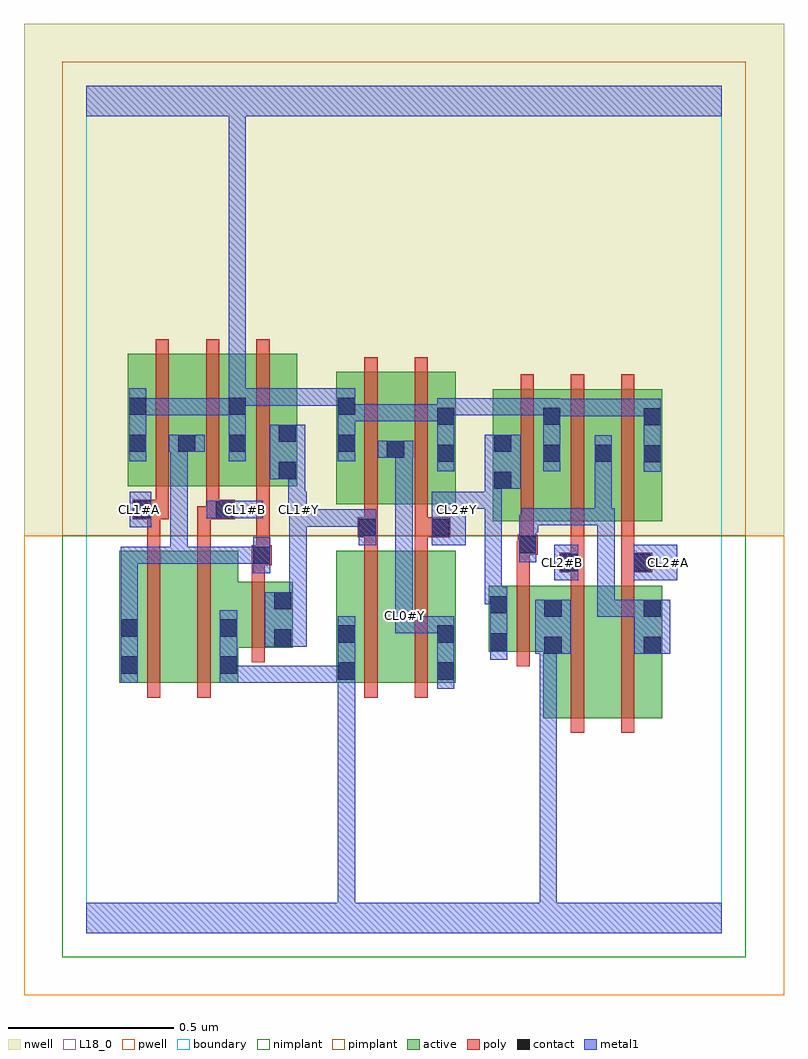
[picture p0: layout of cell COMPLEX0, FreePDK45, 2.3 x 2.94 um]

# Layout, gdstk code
import gdstk
lib = gdstk.Library(unit=1e-6, precision=1e-09)
def R(c, l, rs):  # rectangles x0, y0, x1, y1
    for r in rs: c.add(gdstk.rectangle(r[:2], r[2:], *l))
def A(c, l, x, y, w, h, nx, ny, dx, dy):  # array of equal rectangles
    R(c, l, [(x+i*dx, y+j*dy, x+i*dx+w, y+j*dy+h) for i in range(nx) for j in range(ny)])
active = (1, 0)
pwell = (2, 0)
nwell = (3, 0)
nimplant = (4, 0)
pimplant = (5, 0)
poly = (9, 0)
contact = (10, 0)
metal1 = (11, 0)
L18_0 = (18, 0)
boundary = (235, 0)

complex0 = lib.new_cell('COMPLEX0')
R(complex0, active, [(1.38,0.65,1.44,1.05), (1.38,0.65,1.56,1.05), (1.56,0.65,1.74,1.05), (1.68,0.65,1.74,1.05), (0.1,0.756,0.16,1.156), (0.1,0.756,0.28,1.156), (0.28,0.756,0.46,1.156), (0.756,0.756,0.816,1.156), (0.756,0.756,0.936,1.156), (0.936,0.756,1.116,1.156), (1.056,0.756,1.116,1.156), (0.4,0.78,0.46,1.062), (1.216,0.85,1.44,1.05), (1.216,0.85,1.276,1.05), (0.4,0.862,0.624,1.062), (0.564,0.862,0.624,1.062), (1.228,1.244,1.288,1.644), (1.228,1.244,1.436,1.644), (1.376,1.244,1.436,1.644), (1.376,1.244,1.592,1.644), (1.532,1.244,1.592,1.644), (1.532,1.244,1.74,1.644), (1.68,1.244,1.74,1.644), (0.756,1.296,0.964,1.696), (0.756,1.296,0.816,1.644), (0.904,1.296,1.116,1.696), (1.056,1.296,1.116,1.696), (0.126,1.35,0.186,1.75), (0.126,1.35,0.334,1.75), (0.274,1.35,0.486,1.75), (0.274,1.35,0.334,1.644), (0.426,1.35,0.486,1.75), (0.426,1.35,0.638,1.75), (0.578,1.35,0.638,1.75), (0.904,1.432,0.964,1.644)])
R(complex0, pwell, [(-0.188,-0.188,2.108,1.2)])
R(complex0, nwell, [(-0.188,1.2,2.108,2.748)])
R(complex0, nimplant, [(-0.072,-0.072,1.992,1.2)])
R(complex0, pimplant, [(-0.072,1.2,1.992,2.632)])
A(complex0, poly, 1.312, 1.2, 0.04, 0.488, 3, 1, 0.152, 0)
A(complex0, poly, 0.21, 1.306, 0.04, 0.488, 3, 1, 0.152, 0)
R(complex0, poly, [(1.464,0.606,1.504,1.094), (1.616,0.606,1.656,1.094), (0.184,0.712,0.224,1.2), (0.336,0.712,0.376,1.2), (0.84,0.712,0.88,1.2), (0.992,0.712,1.032,1.2), (1.3,0.806,1.34,1.094), (0.5,0.818,0.54,1.106), (1.3,1.054,1.34,1.184), (1.464,1.054,1.504,1.13), (1.616,1.054,1.656,1.13), (0.5,1.066,0.54,1.152), (1.43,1.09,1.504,1.15), (1.616,1.09,1.71,1.15), (1.464,1.11,1.504,1.24), (1.464,1.11,1.504,1.15), (1.464,1.11,1.504,1.15), (1.616,1.11,1.656,1.24), (1.616,1.11,1.656,1.15), (1.616,1.11,1.656,1.15), (0.5,1.112,0.56,1.172), (0.514,1.132,0.554,1.172), (0.514,1.132,0.554,1.172), (0.514,1.132,0.554,1.346), (1.3,1.144,1.344,1.184), (1.304,1.144,1.344,1.184), (1.304,1.144,1.364,1.204), (0.184,1.16,0.224,1.29), (0.336,1.16,0.376,1.29), (0.84,1.16,0.88,1.236), (0.992,1.16,1.032,1.236), (1.312,1.164,1.352,1.24), (0.82,1.196,0.88,1.256), (0.992,1.196,1.032,1.236), (0.992,1.196,1.032,1.236), (0.992,1.196,1.1,1.256), (0.84,1.216,0.88,1.256), (0.84,1.216,0.88,1.256), (0.84,1.216,0.88,1.292), (0.992,1.216,1.032,1.292), (0.14,1.25,0.25,1.31), (0.184,1.25,0.224,1.29), (0.184,1.25,0.224,1.29), (0.336,1.25,0.402,1.29), (0.362,1.25,0.402,1.29), (0.362,1.25,0.448,1.31), (0.84,1.252,0.88,1.74), (0.992,1.252,1.032,1.74), (0.21,1.27,0.25,1.346), (0.362,1.27,0.402,1.346)])
R(complex0, contact, [(0.76,0.766,0.812,0.818), (1.06,0.766,1.112,0.818), (0.104,0.784,0.156,0.836), (0.404,0.784,0.456,0.836), (1.384,0.844,1.436,0.896), (1.684,0.844,1.736,0.896), (1.22,0.854,1.272,0.906), (0.568,0.866,0.62,0.918), (0.76,0.878,0.812,0.93), (1.06,0.878,1.112,0.93), (0.104,0.896,0.156,0.948), (0.404,0.896,0.456,0.948), (1.384,0.956,1.436,1.008), (1.684,0.956,1.736,1.008), (1.22,0.966,1.272,1.018), (0.568,0.978,0.62,1.03), (1.434,1.094,1.486,1.146), (1.654,1.094,1.706,1.146), (0.504,1.116,0.556,1.168), (1.308,1.148,1.36,1.2), (0.824,1.2,0.876,1.252), (1.044,1.2,1.096,1.252), (0.144,1.254,0.196,1.306), (0.392,1.254,0.444,1.306), (1.232,1.342,1.284,1.394), (0.582,1.372,0.634,1.424), (1.684,1.422,1.736,1.474), (1.06,1.424,1.112,1.476), (1.38,1.424,1.432,1.476), (1.536,1.424,1.588,1.476), (0.908,1.436,0.96,1.488), (0.13,1.454,0.182,1.506), (0.278,1.454,0.33,1.506), (0.43,1.454,0.482,1.506), (0.76,1.454,0.812,1.506), (1.232,1.454,1.284,1.506), (0.582,1.484,0.634,1.536), (1.684,1.534,1.736,1.586), (1.06,1.536,1.112,1.588), (1.38,1.536,1.432,1.588), (0.13,1.566,0.182,1.618), (0.43,1.566,0.482,1.618), (0.76,1.566,0.812,1.618)])
R(complex0, metal1, [(0,0,1.92,0.092), (0.76,0.04,0.812,0.79), (1.37,0.04,1.422,0.092), (1.37,0.04,1.422,0.092), (1.37,0.04,1.422,0.092), (1.37,0.04,1.422,0.092), (1.37,0.04,1.422,0.092), (1.37,0.04,1.422,0.092), (1.37,0.04,1.422,0.092), (1.37,0.04,1.422,0.092), (1.37,0.04,1.422,0.092), (1.37,0.04,1.422,0.092), (1.37,0.04,1.422,0.896), (0.76,0.738,0.812,0.79), (0.76,0.738,0.812,0.79), (0.76,0.738,0.812,0.79), (0.76,0.738,0.812,0.79), (0.76,0.738,0.812,0.79), (0.76,0.738,0.812,0.79), (0.76,0.738,0.812,0.79), (0.76,0.738,0.812,0.79), (0.76,0.738,0.812,0.79), (0.76,0.738,0.812,0.79), (0.76,0.738,0.812,0.79), (0.76,0.738,0.812,0.79), (0.76,0.738,0.812,0.958), (1.06,0.738,1.112,0.958), (0.104,0.756,0.156,0.976), (0.404,0.756,0.456,0.976), (0.404,0.756,0.468,0.808), (0.416,0.756,0.468,0.808), (0.416,0.756,0.592,0.808), (0.54,0.756,0.592,0.808), (0.54,0.756,0.812,0.808), (1.22,0.826,1.272,1.046), (1.356,0.844,1.464,1.008), (1.37,0.844,1.422,0.896), (1.37,0.844,1.422,0.896), (1.656,0.844,1.764,1.008), (0.54,0.866,0.666,1.03), (0.934,0.906,0.986,0.958), (0.934,0.906,0.986,0.958), (0.934,0.906,0.986,1.014), (0.934,0.906,1.112,0.958), (1.06,0.906,1.112,0.958), (1.06,0.906,1.112,0.958), (0.104,0.924,0.156,1.168), (1.544,0.956,1.596,1.008), (1.544,0.956,1.708,1.008), (1.544,0.956,1.596,1.284), (1.656,0.956,1.708,1.008), (1.656,0.956,1.708,1.008), (0.934,0.962,0.986,1.488), (0.614,0.978,0.666,1.278), (1.204,0.994,1.256,1.334), (1.204,0.994,1.272,1.046), (1.22,0.994,1.272,1.046), (1.414,1.066,1.486,1.174), (1.654,1.066,1.786,1.174), (0.504,1.088,0.556,1.196), (0.104,1.116,0.156,1.168), (0.104,1.116,0.156,1.168), (0.104,1.116,0.156,1.168), (0.104,1.116,0.306,1.168), (0.254,1.116,0.306,1.168), (0.254,1.116,0.306,1.168), (0.254,1.116,0.306,1.168), (0.254,1.116,0.468,1.168), (0.254,1.116,0.306,1.506), (0.416,1.116,0.468,1.168), (0.416,1.116,0.556,1.168), (1.308,1.12,1.36,1.264), (0.824,1.172,0.876,1.28), (1.044,1.172,1.146,1.334), (1.308,1.212,1.366,1.264), (1.314,1.212,1.366,1.284), (0.132,1.226,0.196,1.334), (0.614,1.226,0.666,1.334), (0.614,1.228,0.666,1.28), (0.614,1.228,0.666,1.28), (0.614,1.228,0.876,1.28), (1.314,1.232,1.588,1.284), (1.536,1.232,1.588,1.284), (1.536,1.232,1.588,1.284), (1.536,1.232,1.588,1.448), (1.536,1.232,1.596,1.284), (1.544,1.232,1.596,1.284), (1.544,1.232,1.596,1.284), (0.364,1.254,0.534,1.306), (0.61,1.282,0.662,1.424), (0.61,1.282,0.666,1.334), (0.614,1.282,0.666,1.334), (1.094,1.282,1.146,1.334), (1.094,1.282,1.146,1.334), (1.094,1.282,1.256,1.334), (1.204,1.282,1.256,1.334), (1.204,1.282,1.256,1.394), (1.204,1.342,1.312,1.506), (0.554,1.372,0.662,1.536), (1.684,1.394,1.736,1.614), (1.06,1.396,1.112,1.616), (1.38,1.396,1.432,1.616), (1.536,1.396,1.588,1.504), (0.13,1.426,0.182,1.646), (0.43,1.426,0.482,1.646), (0.76,1.426,0.812,1.646), (0.88,1.436,0.988,1.488), (0.934,1.436,0.986,1.488), (0.934,1.436,0.986,1.488), (0.25,1.454,0.358,1.506), (0.254,1.454,0.306,1.506), (0.254,1.454,0.306,1.506), (0.76,1.546,0.812,1.598), (0.76,1.546,0.812,1.598), (0.76,1.546,0.922,1.598), (0.87,1.546,0.922,1.598), (0.87,1.546,1.112,1.598), (1.06,1.546,1.112,1.598), (1.06,1.546,1.112,1.598), (1.38,1.562,1.542,1.614), (1.49,1.562,1.542,1.614), (1.49,1.562,1.542,1.614), (1.49,1.562,1.542,1.614), (1.49,1.562,1.736,1.614), (1.684,1.562,1.736,1.614), (1.684,1.562,1.736,1.614), (0.13,1.564,0.182,1.616), (0.13,1.564,0.182,1.616), (0.13,1.564,0.306,1.616), (0.254,1.564,0.306,1.616), (0.254,1.564,0.306,1.616), (0.254,1.564,0.306,1.616), (0.254,1.564,0.482,1.616), (1.06,1.564,1.256,1.616), (1.204,1.564,1.256,1.616), (1.204,1.564,1.256,1.616), (1.204,1.564,1.256,1.616), (1.204,1.564,1.432,1.616), (0.43,1.594,0.482,1.646), (0.43,1.594,0.482,1.646), (0.43,1.594,0.482,1.646), (0.43,1.594,0.482,1.646), (0.43,1.594,0.592,1.646), (0.43,1.594,0.482,2.52), (0.54,1.594,0.592,1.646), (0.54,1.594,0.812,1.646), (0,2.468,1.92,2.56), (0.43,2.468,0.482,2.52), (0.43,2.468,0.482,2.52), (0.43,2.468,0.482,2.52), (0.43,2.468,0.482,2.52), (0.43,2.468,0.482,2.52), (0.43,2.468,0.482,2.52), (0.43,2.468,0.482,2.52), (0.43,2.468,0.482,2.52), (0.43,2.468,0.482,2.52), (0.43,2.468,0.482,2.52), (0.43,2.468,0.482,2.52), (0.43,2.468,0.482,2.52), (0.43,2.468,0.482,2.52), (0.43,2.468,0.482,2.52)])
R(complex0, L18_0, [(0,0,1.92,0.092), (0.76,0.04,0.812,0.79), (1.37,0.04,1.422,0.092), (1.37,0.04,1.422,0.092), (1.37,0.04,1.422,0.092), (1.37,0.04,1.422,0.092), (1.37,0.04,1.422,0.092), (1.37,0.04,1.422,0.092), (1.37,0.04,1.422,0.092), (1.37,0.04,1.422,0.092), (1.37,0.04,1.422,0.092), (1.37,0.04,1.422,0.092), (1.37,0.04,1.422,0.896), (0.76,0.738,0.812,0.958), (0.76,0.738,0.812,0.79), (0.76,0.738,0.812,0.79), (0.76,0.738,0.812,0.79), (0.76,0.738,0.812,0.79), (0.76,0.738,0.812,0.79), (0.76,0.738,0.812,0.79), (0.76,0.738,0.812,0.79), (0.76,0.738,0.812,0.79), (0.76,0.738,0.812,0.79), (0.76,0.738,0.812,0.79), (0.76,0.738,0.812,0.79), (0.76,0.738,0.812,0.79), (1.06,0.738,1.112,0.958), (0.404,0.756,0.456,0.976), (0.404,0.756,0.468,0.808), (0.416,0.756,0.468,0.808), (0.416,0.756,0.592,0.808), (0.54,0.756,0.592,0.808), (0.54,0.756,0.812,0.808), (1.22,0.826,1.272,1.046), (1.356,0.844,1.464,1.008), (1.37,0.844,1.422,0.896), (1.37,0.844,1.422,0.896), (0.54,0.866,0.666,1.03), (0.934,0.906,0.986,0.958), (0.934,0.906,0.986,0.958), (0.934,0.906,0.986,1.014), (0.934,0.906,1.112,0.958), (1.06,0.906,1.112,0.958), (1.06,0.906,1.112,0.958), (0.934,0.934,0.986,0.986), (0.934,0.962,0.986,1.488), (0.614,0.978,0.666,1.278), (1.204,0.994,1.272,1.046), (1.204,0.994,1.256,1.334), (1.22,0.994,1.272,1.046), (1.414,1.066,1.486,1.174), (1.654,1.066,1.786,1.174), (1.414,1.094,1.466,1.146), (1.734,1.094,1.786,1.146), (0.824,1.172,0.876,1.28), (1.044,1.172,1.146,1.334), (0.132,1.226,0.196,1.334), (0.614,1.226,0.666,1.334), (0.614,1.228,0.666,1.28), (0.614,1.228,0.666,1.28), (0.614,1.228,0.876,1.28), (0.134,1.254,0.186,1.306), (0.364,1.254,0.534,1.306), (0.454,1.254,0.506,1.306), (0.614,1.254,0.666,1.306), (1.094,1.254,1.146,1.306), (0.61,1.282,0.666,1.334), (0.61,1.282,0.662,1.424), (0.614,1.282,0.666,1.334), (1.094,1.282,1.146,1.334), (1.094,1.282,1.146,1.334), (1.094,1.282,1.256,1.334), (1.204,1.282,1.256,1.334), (1.204,1.282,1.256,1.394), (1.204,1.342,1.312,1.506), (0.554,1.372,0.662,1.536), (1.684,1.394,1.736,1.614), (1.06,1.396,1.112,1.616), (1.38,1.396,1.432,1.616), (0.13,1.426,0.182,1.646), (0.43,1.426,0.482,1.646), (0.76,1.426,0.812,1.646), (0.88,1.436,0.988,1.488), (0.934,1.436,0.986,1.488), (0.934,1.436,0.986,1.488), (0.76,1.546,0.812,1.598), (0.76,1.546,0.812,1.598), (0.76,1.546,0.922,1.598), (0.87,1.546,0.922,1.598), (0.87,1.546,1.112,1.598), (1.06,1.546,1.112,1.598), (1.06,1.546,1.112,1.598), (1.38,1.562,1.542,1.614), (1.49,1.562,1.542,1.614), (1.49,1.562,1.542,1.614), (1.49,1.562,1.542,1.614), (1.49,1.562,1.736,1.614), (1.684,1.562,1.736,1.614), (1.684,1.562,1.736,1.614), (0.13,1.564,0.182,1.616), (0.13,1.564,0.182,1.616), (0.13,1.564,0.306,1.616), (0.254,1.564,0.306,1.616), (0.254,1.564,0.306,1.616), (0.254,1.564,0.306,1.616), (0.254,1.564,0.482,1.616), (1.06,1.564,1.256,1.616), (1.204,1.564,1.256,1.616), (1.204,1.564,1.256,1.616), (1.204,1.564,1.256,1.616), (1.204,1.564,1.432,1.616), (0.43,1.594,0.482,1.646), (0.43,1.594,0.482,1.646), (0.43,1.594,0.482,1.646), (0.43,1.594,0.482,1.646), (0.43,1.594,0.482,2.52), (0.43,1.594,0.592,1.646), (0.54,1.594,0.592,1.646), (0.54,1.594,0.812,1.646), (0,2.468,1.92,2.56), (0.43,2.468,0.482,2.52), (0.43,2.468,0.482,2.52), (0.43,2.468,0.482,2.52), (0.43,2.468,0.482,2.52), (0.43,2.468,0.482,2.52), (0.43,2.468,0.482,2.52), (0.43,2.468,0.482,2.52), (0.43,2.468,0.482,2.52), (0.43,2.468,0.482,2.52), (0.43,2.468,0.482,2.52), (0.43,2.468,0.482,2.52), (0.43,2.468,0.482,2.52), (0.43,2.468,0.482,2.52), (0.43,2.468,0.482,2.52)])
R(complex0, boundary, [(0,0,1.92,2.56)])
complex0.add(gdstk.Label('CL0#Y', (0.96,0.96), layer=11, texttype=0))
complex0.add(gdstk.Label('CL1#A', (0.16,1.28), layer=11, texttype=0))
complex0.add(gdstk.Label('CL1#B', (0.48,1.28), layer=11, texttype=0))
complex0.add(gdstk.Label('CL1#Y', (0.64,1.28), layer=11, texttype=0))
complex0.add(gdstk.Label('CL2#A', (1.76,1.12), layer=11, texttype=0))
complex0.add(gdstk.Label('CL2#B', (1.44,1.12), layer=11, texttype=0))
complex0.add(gdstk.Label('CL2#Y', (1.12,1.28), layer=11, texttype=0))

lib.write_gds('COMPLEX0.gds')
